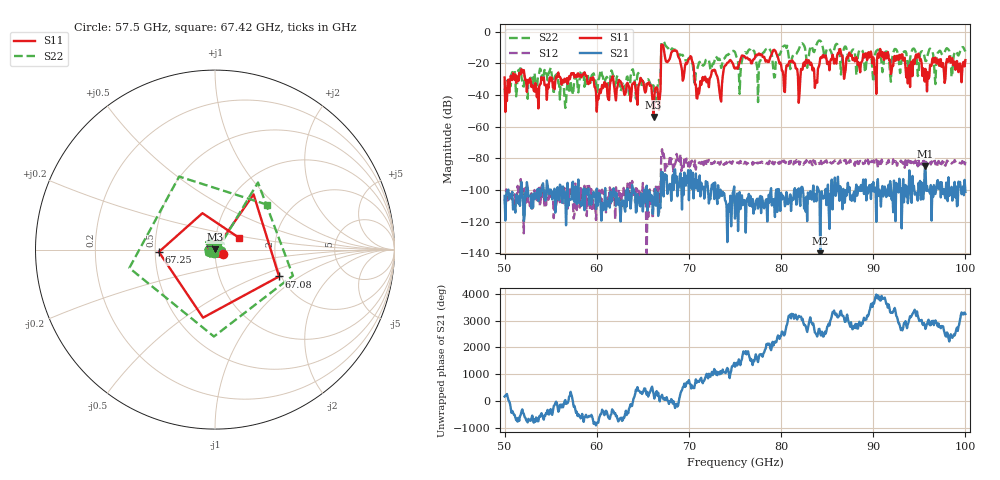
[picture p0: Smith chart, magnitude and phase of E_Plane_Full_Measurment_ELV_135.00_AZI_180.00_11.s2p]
! 11/26/2026 3:07:13 PM
! C:\ANRITSUVNA\TEMP\TEMP.S2P
! CHANNEL.1
! TR.MEASUREMENT
! RAW.DATA
# HZ S RI R 50.0
! FREQ.HZ  S11RE  S11IM  S21RE  S21IM  S12RE  S12IM  S22RE  S22IM
!; PortSelection: Port_12
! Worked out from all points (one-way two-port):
!   601 points, 50 GHz to 100 GHz, reference 50 ohm
!   highest |S21| = -84.83 dB at 95.67 GHz (marker M1); lowest = -140.0 dB at 84.25 GHz (marker M2)
!   lowest |S11| = -54.0 dB at 66.17 GHz (marker M3), VSWR 1.00, Z = 50.1 + j0.145 ohm
!   |S11| at or under -10 dB: start of sweep to 67 GHz; 67.25 GHz to end of sweep
!   |S22| runs from -48.2 to -5.6 dB; largest |S21 - S12| = 0.00021
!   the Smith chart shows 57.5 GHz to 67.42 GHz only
!   S11 on the Smith chart (normalised r, x): 57.5 GHz: 1.09, -0.05; 67.08 GHz: 1.95, -0.69; 67.25 GHz: 0.52, -0.02; 67.42 GHz: 1.29, +0.18
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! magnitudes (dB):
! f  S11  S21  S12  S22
! 50 GHz  -29.0  -103.8  -105.5  -35.8
! 51.67 GHz  -26.3  -110.1  -107.5  -23.3
! 53.42 GHz  -34.8  -104.0  -100.5  -35.1
! 57.5 GHz  -26.2  -106.6  -118.2  -34.7
! 58.42 GHz  -27.2  -108.8  -106.4  -24.7
! 60.17 GHz  -42.8  -104.2  -102.6  -30.4
! 66.17 GHz  -54.0  -106.9  -102.5  -34.1
! 66.67 GHz  -41.5  -116.5  -98.0  -31.6
! 67.08 GHz  -8.2  -92.8  -74.3  -6.8
! 67.25 GHz  -10.1  -104.2  -77.1  -6.2
! 67.42 GHz  -16.6  -90.0  -88.8  -8.3
! 70.25 GHz  -15.9  -97.0  -81.9  -18.8
! 70.92 GHz  -42.3  -93.8  -83.0  -23.1
! 75 GHz  -23.3  -118.2  -82.5  -12.9
! 79.25 GHz  -11.5  -109.1  -83.7  -29.0
! 80.25 GHz  -27.9  -104.2  -82.1  -9.3
! 83.42 GHz  -24.5  -102.5  -84.4  -10.8
! 84.25 GHz  -16.7  -140.0  -83.1  -5.8
! 91.67 GHz  -16.7  -96.8  -81.1  -15.2
! 94.83 GHz  -15.0  -106.7  -85.1  -28.1
! 95.67 GHz  -23.5  -84.8  -82.9  -18.6
! 100 GHz  -18.0  -101.3  -82.2  -12.6
